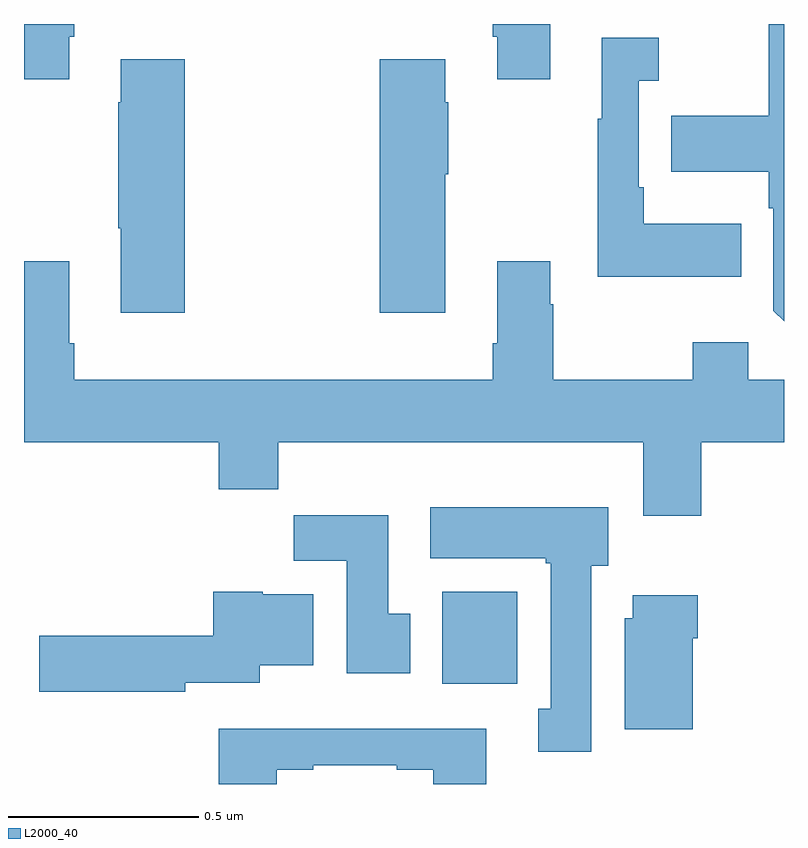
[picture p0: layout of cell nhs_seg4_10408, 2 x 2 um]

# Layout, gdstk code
import gdstk
lib = gdstk.Library(unit=1e-6, precision=1e-09)
def R(c, l, rs):  # rectangles x0, y0, x1, y1
    for r in rs: c.add(gdstk.rectangle(r[:2], r[2:], *l))
def P(c, l, *ps):  # polygons
    for p in ps: c.add(gdstk.Polygon(p, *l))
L2000_40 = (2000, 40)

nhs_seg4_10408 = lib.new_cell('nhs_seg4_10408')
R(nhs_seg4_10408, L2000_40, [(240.101,816.164,240.298,816.406)])
P(nhs_seg4_10408, L2000_40, [(241,817.9),(240.96,817.9),(240.96,817.659),(240.703,817.659),(240.703,817.511),(240.96,817.511),(240.96,817.415),(240.972,817.415),(240.972,817.146),(241,817.118)],
  [(239.119,817.867),(239.132,817.867),(239.132,817.9),(239,817.9),(239,817.755),(239.119,817.755)],
  [(240.385,817.9),(240.233,817.9),(240.233,817.867),(240.245,817.867),(240.245,817.755),(240.385,817.755)],
  [(240.887,817.375),(240.631,817.375),(240.631,817.471),(240.618,817.471),(240.618,817.751),(240.67,817.751),(240.67,817.864),(240.521,817.864),(240.521,817.651),(240.51,817.651),(240.51,817.235),(240.887,817.235)],
  [(240.109,817.505),(240.117,817.505),(240.117,817.694),(240.109,817.694),(240.109,817.807),(239.936,817.807),(239.936,817.14),(240.109,817.14)],
  [(239.423,817.807),(239.255,817.807),(239.255,817.694),(239.248,817.694),(239.248,817.363),(239.255,817.363),(239.255,817.14),(239.423,817.14)],
  [(240.782,816.8),(241,816.8),(241,816.964),(240.906,816.964),(240.906,817.063),(240.76,817.063),(240.76,816.964),(240.393,816.964),(240.393,817.163),(240.385,817.163),(240.385,817.276),(240.245,817.276),(240.245,817.06),(240.233,817.06),(240.233,816.964),(239.132,816.964),(239.132,817.06),(239.119,817.06),(239.119,817.276),(239,817.276),(239,816.8),(239.513,816.8),(239.513,816.676),(239.669,816.676),(239.669,816.8),(240.629,816.8),(240.629,816.606),(240.782,816.606)],
  [(240.493,816.474),(240.538,816.474),(240.538,816.628),(240.069,816.628),(240.069,816.494),(240.373,816.494),(240.373,816.481),(240.386,816.481),(240.386,816.098),(240.353,816.098),(240.353,815.985),(240.493,815.985)],
  [(240.016,816.348),(239.959,816.348),(239.959,816.607),(239.71,816.607),(239.71,816.488),(239.849,816.488),(239.849,816.192),(240.016,816.192)],
  [(239.424,816.167),(239.62,816.167),(239.62,816.212),(239.761,816.212),(239.761,816.4),(239.628,816.4),(239.628,816.406),(239.498,816.406),(239.498,816.29),(239.04,816.29),(239.04,816.143),(239.424,816.143)],
  [(240.76,816.284),(240.773,816.284),(240.773,816.397),(240.602,816.397),(240.602,816.336),(240.581,816.336),(240.581,816.044),(240.76,816.044)],
  [(239.665,815.937),(239.761,815.937),(239.761,815.949),(239.981,815.949),(239.981,815.937),(240.077,815.937),(240.077,815.9),(240.217,815.9),(240.217,816.046),(239.513,816.046),(239.513,815.9),(239.665,815.9)])

lib.write_gds('nhs_seg4_10408.gds')
